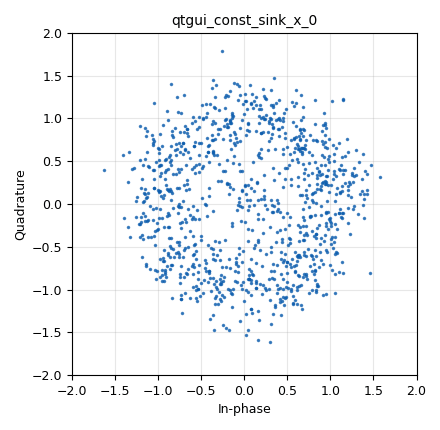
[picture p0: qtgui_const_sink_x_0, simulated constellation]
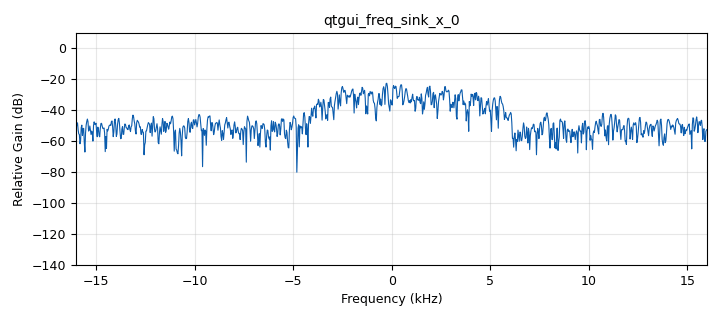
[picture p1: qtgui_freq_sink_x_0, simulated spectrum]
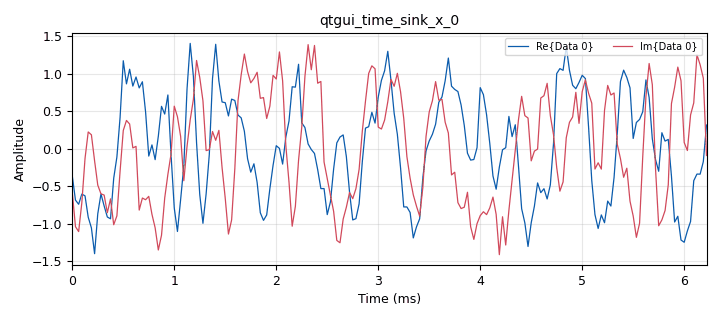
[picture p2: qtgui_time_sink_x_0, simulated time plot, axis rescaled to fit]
options:
  parameters:
    generate_options: qt_gui
    id: somethin
    output_language: python
    title: Not titled yet
  states: {}

blocks:
- name: excess_bw
  id: variable
  parameters:
    value: '0.35'
  states: {}
- name: freq_offset
  id: variable_qtgui_range
  parameters:
    gui_hint: 0,2,1,1
    label: 'Channel: Frequency Offset'
    start: '-100e-3'
    step: '1e-3'
    stop: '100e-3'
    value: '25e-3'
  states: {}
- name: noise_volt
  id: variable_qtgui_range
  parameters:
    gui_hint: 0,0,1,1
    label: 'Channel: Noise Voltage'
    start: '0'
    step: '10e-3'
    stop: '1'
    value: '0.2'
  states: {}
- name: qpsk
  id: variable_constellation_rect
  parameters:
    const_points: '[0.707+0.707j, -0.707+0.707j, -0.707-0.707j, 0.707-0.707j]'
    imag_sect: '2'
    real_sect: '2'
    rot_sym: '4'
    sym_map: '[0, 1, 2, 3]'
    w_imag_sect: '1'
    w_real_sect: '1'
  states: {}
- name: samp_rate
  id: variable
  parameters:
    value: '32000'
  states: {}
- name: sps
  id: variable
  parameters:
    value: '4'
  states: {}
- name: time_offset
  id: variable_qtgui_range
  parameters:
    gui_hint: 0,1,1,1
    label: 'Channel: Timing Offset'
    start: '999e-3'
    step: '100e-6'
    stop: '1.001'
    value: '1.0005'
  states: {}
- name: analog_random_source_x_0
  id: analog_random_source_x
  parameters:
    max: '256'
    min: '0'
    num_samps: '10000'
    repeat: 'True'
    type: byte
  states: {}
- name: blocks_throttle2_0
  id: blocks_throttle2
  parameters:
    samples_per_second: samp_rate
    type: complex
  states: {}
- name: channels_channel_model_0
  id: channels_channel_model
  parameters:
    epsilon: time_offset
    freq_offset: freq_offset
    noise_voltage: noise_volt
    seed: '0'
    taps: '1.0'
  states: {}
- name: digital_constellation_modulator_0
  id: digital_constellation_modulator
  parameters:
    constellation: qpsk
    differential: 'True'
    excess_bw: excess_bw
    samples_per_symbol: sps
  states: {}
- name: qtgui_const_sink_x_0
  id: qtgui_const_sink_x
  parameters:
    gui_hint: 1,2,1,2
    size: '1024'
    type: complex
  states: {}
- name: qtgui_freq_sink_x_0
  id: qtgui_freq_sink_x
  parameters:
    bw: samp_rate
    fc: '0'
    fftsize: '1024'
    gui_hint: 2,0,1,4
    type: complex
  states: {}
- name: qtgui_time_sink_x_0
  id: qtgui_time_sink_x
  parameters:
    gui_hint: 1,0,1,2
    size: '200'
    srate: samp_rate
    type: complex
  states: {}

connections:
- [analog_random_source_x_0, '0', digital_constellation_modulator_0, '0']
- [blocks_throttle2_0, '0', channels_channel_model_0, '0']
- [channels_channel_model_0, '0', qtgui_const_sink_x_0, '0']
- [channels_channel_model_0, '0', qtgui_freq_sink_x_0, '0']
- [channels_channel_model_0, '0', qtgui_time_sink_x_0, '0']
- [digital_constellation_modulator_0, '0', blocks_throttle2_0, '0']

metadata:
  file_format: 1
  grc_version: 3.10.12.0
